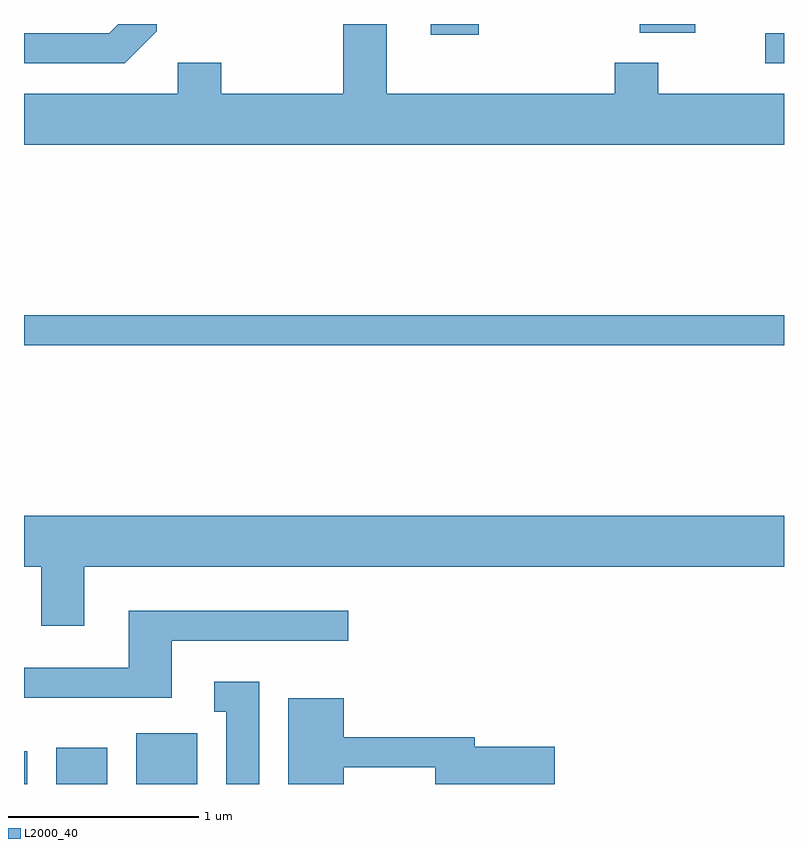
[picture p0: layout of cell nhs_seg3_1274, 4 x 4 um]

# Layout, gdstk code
import gdstk
lib = gdstk.Library(unit=1e-6, precision=1e-09)
def R(c, l, rs):  # rectangles x0, y0, x1, y1
    for r in rs: c.add(gdstk.rectangle(r[:2], r[2:], *l))
def P(c, l, *ps):  # polygons
    for p in ps: c.add(gdstk.Polygon(p, *l))
L2000_40 = (2000, 40)

nhs_seg3_1274 = lib.new_cell('nhs_seg3_1274')
R(nhs_seg3_1274, L2000_40, [(221.611,1215.892,221.629,1216.064), (221.781,1215.892,222.049,1216.084), (222.201,1215.892,222.524,1216.159), (221.611,1218.201,225.611,1218.359), (225.513,1219.686,225.611,1219.844), (223.751,1219.836,224.004,1219.892), (224.851,1219.846,225.144,1219.892)])
P(nhs_seg3_1274, L2000_40, [(225.611,1219.524),(224.949,1219.524),(224.949,1219.689),(224.721,1219.689),(224.721,1219.524),(223.519,1219.524),(223.519,1219.892),(223.291,1219.892),(223.291,1219.524),(222.649,1219.524),(222.649,1219.689),(222.421,1219.689),(222.421,1219.524),(221.611,1219.524),(221.611,1219.256),(225.611,1219.256)],
  [(222.309,1219.854),(222.309,1219.892),(222.106,1219.892),(222.059,1219.844),(221.613,1219.844),(221.613,1219.686),(222.142,1219.686)],
  [(221.929,1217.036),(225.611,1217.036),(225.611,1217.304),(221.611,1217.304),(221.611,1217.036),(221.701,1217.036),(221.701,1216.726),(221.929,1216.726)],
  [(222.389,1216.646),(223.318,1216.646),(223.318,1216.804),(222.161,1216.804),(222.161,1216.504),(221.611,1216.504),(221.611,1216.346),(222.389,1216.346)],
  [(222.849,1216.429),(222.613,1216.429),(222.613,1216.271),(222.676,1216.271),(222.676,1215.892),(222.849,1215.892)],
  [(223.294,1215.981),(223.776,1215.981),(223.776,1215.892),(224.404,1215.892),(224.404,1216.089),(223.984,1216.089),(223.984,1216.139),(223.294,1216.139),(223.294,1216.344),(223.001,1216.344),(223.001,1215.892),(223.294,1215.892)])

lib.write_gds('nhs_seg3_1274.gds')
